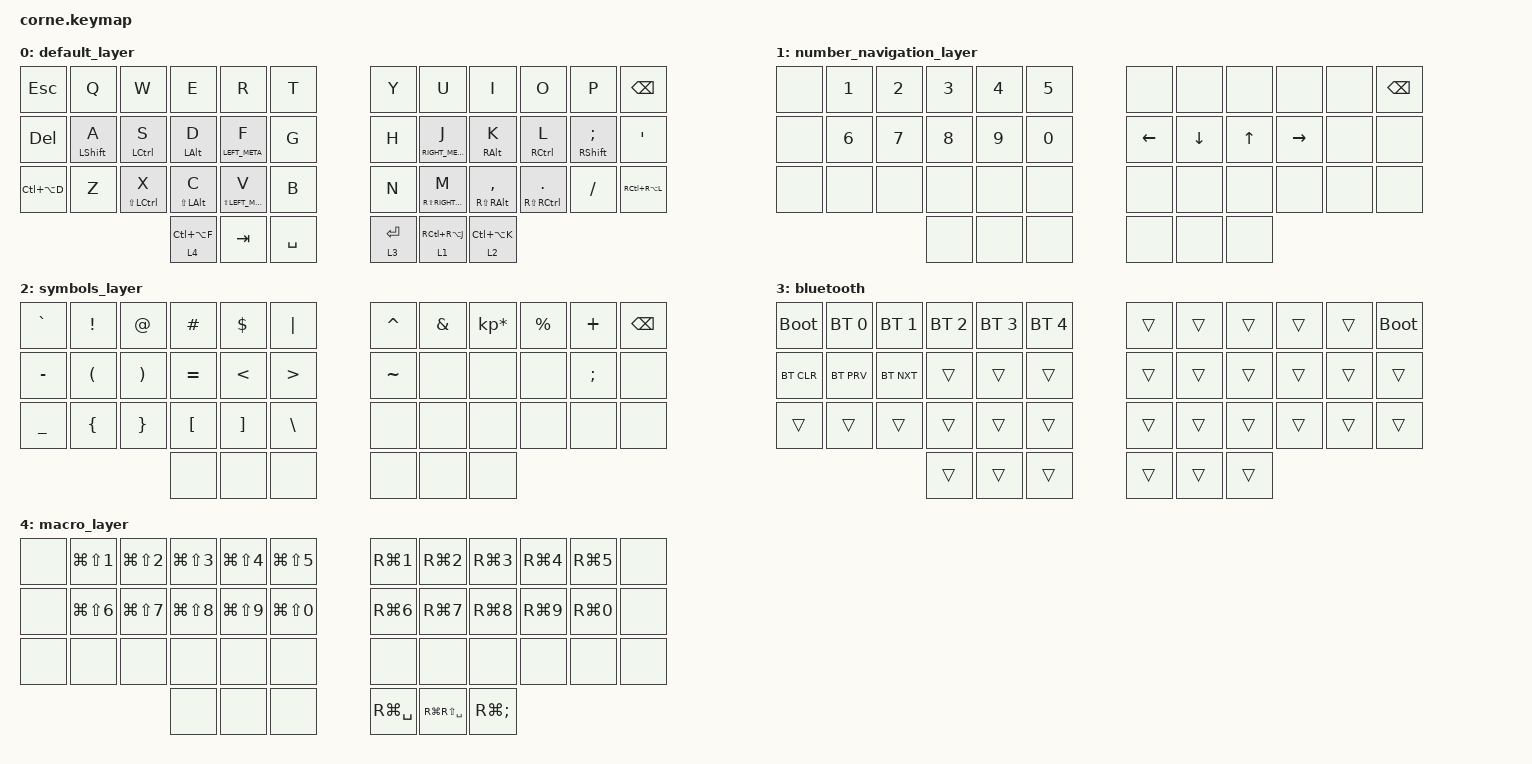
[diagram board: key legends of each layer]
/*
 * Copyright (c) 2020 The ZMK Contributors
 *
 * SPDX-License-Identifier: MIT
 */

#include <dt-bindings/zmk/mouse.h>
#include <behaviors.dtsi>
#include <dt-bindings/zmk/bt.h>
#include <dt-bindings/zmk/keys.h>

/ {
    behaviors {
        hmr: hmr {
            compatible = "zmk,behavior-hold-tap";
            label = "HMR";
            bindings = <&kp>, <&kp>;

            #binding-cells = <2>;
            tapping-term-ms = <280>;
            hold-trigger-on-release;
            flavor = "balanced";
            quick-tap-ms = <175>;
            hold-trigger-key-positions = <0 1 5 12 13 14 15 16 17 24 25 26 27 28 29 36 37 38 3 15 2 14 4 39 40 41>;
        };

        hml: hml {
            compatible = "zmk,behavior-hold-tap";
            label = "HML";
            bindings = <&kp>, <&kp>;

            #binding-cells = <2>;
            tapping-term-ms = <280>;
            quick-tap-ms = <175>;
            flavor = "balanced";
            hold-trigger-key-positions = <6 7 8 18 19 20 30 31 32 39 40 41 8 9 10 11 20 21 22 23 32 33 34 35 38 37 36>;
            hold-trigger-on-release;
        };

        osh: osh {
            compatible = "zmk,behavior-sticky-key";
            label = "OSH";
            bindings = <&lt>;
            #binding-cells = <1>;
            ignore-modifiers;
            release-after-ms = <100000>;
        };

        kpMo: kpMo {
            compatible = "zmk,behavior-hold-tap";
            label = "KPMO";
            bindings = <&mo>, <&kp>;

            #binding-cells = <2>;
            tapping-term-ms = <280>;
            quick-tap-ms = <175>;
            flavor = "tap-preferred";
        };
    };

    keymap {
        compatible = "zmk,keymap";

        default_layer {
            // -----------------------------------------------------------------------------------------
            // |  TAB |  Q  |  W  |  E  |  R  |  T  |   |  Y  |  U   |  I  |  O  |  P  | BKSP |
            // | CTRL |  A  |  S  |  D  |  F  |  G  |   |  H  |  J   |  K  |  L  |  ;  |  '   |
            // | SHFT |  Z  |  X  |  C  |  V  |  B  |   |  N  |  M   |  ,  |  .  |  /  | ESC  |
            //                    | GUI | LWR | SPC |   | ENT | RSE  | ALT |

            bindings = <
&kp ESCAPE     &kp Q              &kp W                    &kp E                &kp R                 &kp T        &kp Y          &kp U                  &kp I                     &kp O                          &kp P                       &kp BSPC
&kp DELETE     &hml LEFT_SHIFT A  &hml LCTRL S             &hml LEFT_ALT D      &hml LEFT_META F      &kp G        &kp H          &hmr RIGHT_META J      &hmr RIGHT_ALT K          &hmr RIGHT_CONTROL L           &hmr RIGHT_SHIFT SEMICOLON  &kp SQT
&kp LC(LA(D))  &kp Z              &hml LS(LEFT_CONTROL) X  &hml LS(LEFT_ALT) C  &hml LS(LEFT_META) V  &kp B        &kp N          &hmr RS(RIGHT_META) M  &hmr RS(RIGHT_ALT) COMMA  &hmr RS(RIGHT_CONTROL) PERIOD  &kp SLASH                   &kp RC(RA(L))
                                                           &lt 4 LC(LA(F))      &kp TAB               &kp SPACE    &kpMo 3 ENTER  &lt 1 RC(RA(J))        &lt 2 LC(LA(K))
            >;
        };

        number_navigation_layer {
            // -----------------------------------------------------------------------------------------
            // |  TAB |  1  |  2  |  3  |  4  |  5  |   |  6  |  7  |  8  |  9  |  0  | BKSP |
            // | BTCLR| BT1 | BT2 | BT3 | BT4 | BT5 |   | LFT | DWN |  UP | RGT |     |      |
            // | SHFT |     |     |     |     |     |   |     |     |     |     |     |      |
            //                    | GUI |     | SPC |   | ENT |     | ALT |

            bindings = <
&none  &kp N1  &kp N2  &kp N3  &kp N4  &kp N5    &none     &none     &none         &none      &none  &kp BACKSPACE
&none  &kp N6  &kp N7  &kp N8  &kp N9  &kp N0    &kp LEFT  &kp DOWN  &kp UP_ARROW  &kp RIGHT  &none  &none
&none  &none   &none   &none   &none   &none     &none     &none     &none         &none      &none  &none
                       &none   &none   &none     &none     &none     &none
            >;
        };

        symbols_layer {
            // -----------------------------------------------------------------------------------------
            // |  TAB |  !  |  @  |  #  |  $  |  %  |   |  ^  |  &  |  *  |  (  |  )  | BKSP |
            // | CTRL |     |     |     |     |     |   |  -  |  =  |  [  |  ]  |  \  |  `   |
            // | SHFT |     |     |     |     |     |   |  _  |  +  |  {  |  }  | "|" |  ~   |
            //                    | GUI |     | SPC |   | ENT |     | ALT |

            bindings = <
&kp GRAVE  &kp EXCL              &kp AT                 &kp HASH          &kp DLLR           &kp PIPE         &kp CARET  &kp AMPS  &kp KP_MULTIPLY  &kp PERCENT  &kp PLUS  &kp BSPC
&kp MINUS  &kp LEFT_PARENTHESIS  &kp RIGHT_PARENTHESIS  &kp EQUAL         &kp LESS_THAN      &kp GT           &kp TILDE  &none     &none            &none        &kp SEMI  &none
&kp UNDER  &kp LEFT_BRACE        &kp RIGHT_BRACE        &kp LEFT_BRACKET  &kp RIGHT_BRACKET  &kp BACKSLASH    &none      &none     &none            &none        &none     &none
                                                        &none             &none              &none            &none      &none     &none
            >;
        };

        bluetooth {
            bindings = <
&bootloader  &bt BT_SEL 0  &bt BT_SEL 1  &bt BT_SEL 2  &bt BT_SEL 3  &bt BT_SEL 4    &trans  &trans  &trans  &trans  &trans  &bootloader
&bt BT_CLR   &bt BT_PRV    &bt BT_NXT    &trans        &trans        &trans          &trans  &trans  &trans  &trans  &trans  &trans
&trans       &trans        &trans        &trans        &trans        &trans          &trans  &trans  &trans  &trans  &trans  &trans
                                         &trans        &trans        &trans          &trans  &trans  &trans
            >;
        };

        macro_layer {
            bindings = <
&none  &kp LG(LS(NUMBER_1))  &kp LG(LS(NUMBER_2))  &kp LG(LS(NUMBER_3))  &kp LG(LS(NUMBER_4))  &kp LG(LS(NUMBER_5))    &kp RG(NUMBER_1)  &kp RG(NUMBER_2)   &kp RG(NUMBER_3)   &kp RG(NUMBER_4)  &kp RG(N5)        &none
&none  &kp LG(LS(NUMBER_6))  &kp LG(LS(NUMBER_7))  &kp LG(LS(NUMBER_8))  &kp LG(LS(NUMBER_9))  &kp LG(LS(NUMBER_0))    &kp RG(NUMBER_6)  &kp RG(NUMBER_7)   &kp RG(NUMBER_8)   &kp RG(NUMBER_9)  &kp RG(NUMBER_0)  &none
&none  &none                 &none                 &none                 &none                 &none                   &none             &none              &none              &none             &none             &none
                                                   &none                 &none                 &none                   &kp RG(SPACE)     &kp RG(RS(SPACE))  &kp RG(SEMICOLON)
            >;
        };
    };
};
